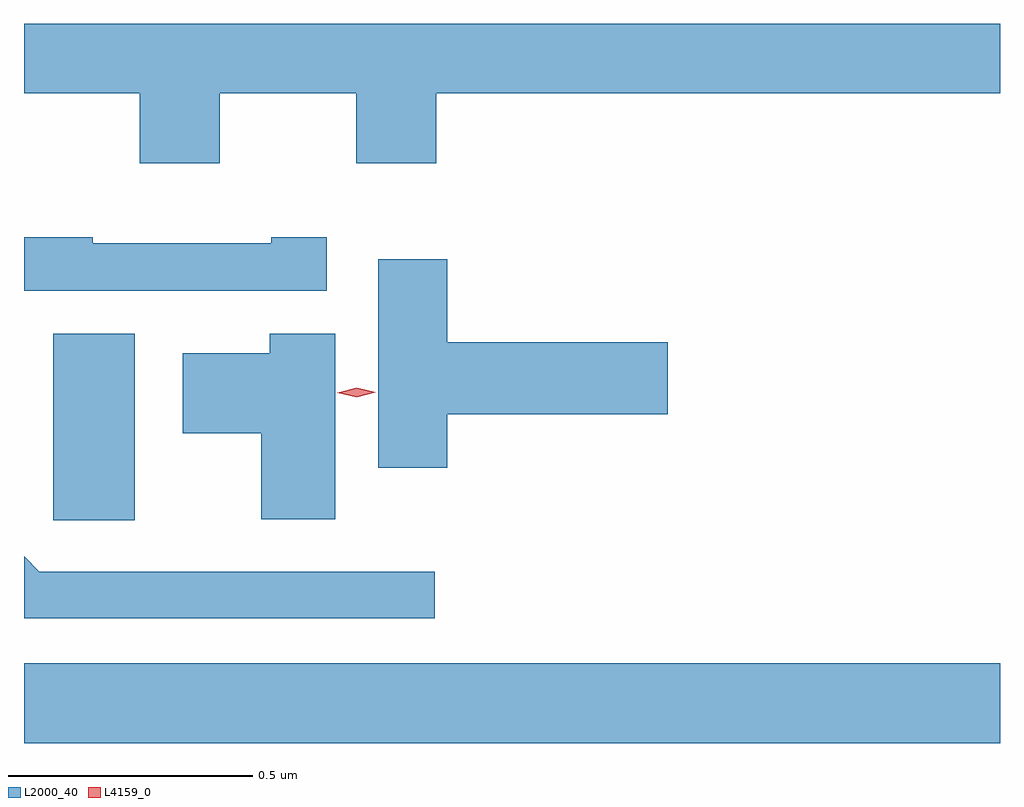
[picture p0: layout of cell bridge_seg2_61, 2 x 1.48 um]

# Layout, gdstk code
import gdstk
lib = gdstk.Library(unit=1e-6, precision=1e-09)
def R(c, l, rs):  # rectangles x0, y0, x1, y1
    for r in rs: c.add(gdstk.rectangle(r[:2], r[2:], *l))
def P(c, l, *ps):  # polygons
    for p in ps: c.add(gdstk.Polygon(p, *l))
L2000_40 = (2000, 40)
L4159_0 = (4159, 0)

bridge_seg2_61 = lib.new_cell('bridge_seg2_61')
R(bridge_seg2_61, L2000_40, [(1114.13,595.688,1116.13,595.852), (1114.19,596.145,1114.357,596.527)])
P(bridge_seg2_61, L2000_40, [(1114.531,597.02),(1114.811,597.02),(1114.811,596.877),(1114.975,596.877),(1114.975,597.02),(1116.13,597.02),(1116.13,597.163),(1114.13,597.163),(1114.13,597.02),(1114.367,597.02),(1114.367,596.877),(1114.531,596.877)],
  [(1114.75,596.725),(1114.637,596.725),(1114.637,596.713),(1114.271,596.713),(1114.271,596.725),(1114.13,596.725),(1114.13,596.616),(1114.75,596.616)],
  [(1114.997,596.363),(1115.449,596.363),(1115.449,596.51),(1114.997,596.51),(1114.997,596.68),(1114.856,596.68),(1114.856,596.253),(1114.997,596.253)],
  [(1114.768,596.527),(1114.634,596.527),(1114.634,596.488),(1114.455,596.488),(1114.455,596.324),(1114.616,596.324),(1114.616,596.147),(1114.768,596.147)],
  [(1114.972,596.04),(1114.161,596.04),(1114.13,596.071),(1114.13,595.944),(1114.972,595.944)])
P(bridge_seg2_61, L4159_0, [(1114.812,596.397),(1114.772,596.407),(1114.772,596.407),(1114.772,596.407),(1114.812,596.417),(1114.851,596.408),(1114.851,596.408),(1114.851,596.408)])

lib.write_gds('bridge_seg2_61.gds')
